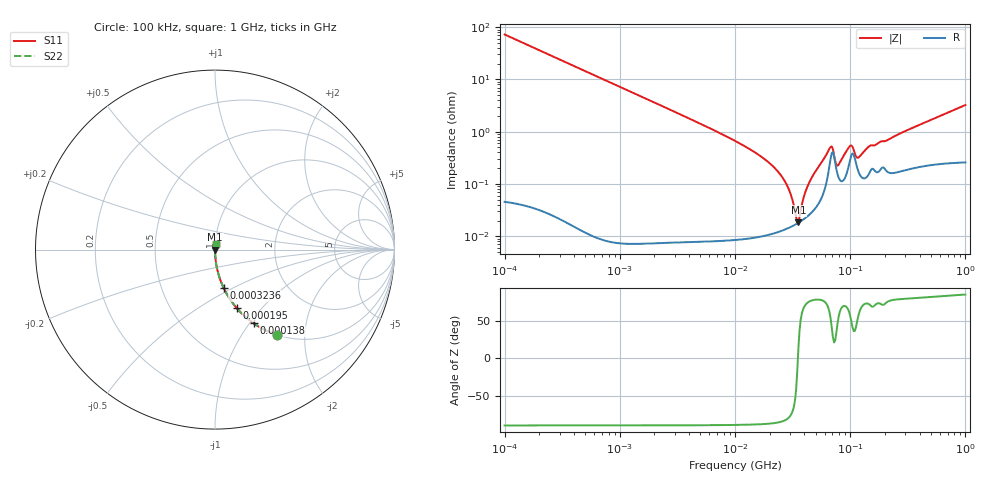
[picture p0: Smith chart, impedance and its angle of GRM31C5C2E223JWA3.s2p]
!Murata Part Number: GRM31C5C2E223JWA3
!These Parameters are Measured in Series Mode Connection
!Data Generated on Mar 30, 2021
!  o--ll--o
!Port1  Port2
!  o------o
!Operation Temp=25[degC], DC Bias Voltage=0[V]
!Freq. Start=100[kHz] Stop=1000[MHz] 401[Steps]
# Hz S RI R 50
!Freq.(Hz) S11(Real) S11(Imag) S21(Real) S21(Imag) S12(Real) S12(Imag) S22(Real) S22(Imag)
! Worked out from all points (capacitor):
!   401 points, 100 kHz to 1 GHz, reference 50 ohm
!   read as one part in series: C = 22 nF near 104.7 kHz
!   lowest |Z| = 18.5 mohm at 35.48 MHz (marker M1)
!   series resonance near 35.16 MHz, so ESL is about 930 pH
!   S11 on the Smith chart (normalised r, x): 100 kHz: 1.00, -1.45; 138 kHz: 1.00, -1.05; 195 kHz: 1.00, -0.74; 323.6 kHz: 1.00, -0.45; 1 GHz: 1.01, +0.06
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100000  0.3438 -0.4746  0.6562 0.4746  0.6562 0.4746  0.3438 -0.4746
138038  0.2158 -0.411  0.7842 0.411  0.7842 0.411  0.2158 -0.411
194984  0.1213 -0.3261  0.8787 0.3261  0.8787 0.3261  0.1213 -0.3261
323594  0.0479 -0.213  0.9521 0.213  0.9521 0.213  0.0479 -0.213
467735  0.0235 -0.1512  0.9765 0.1512  0.9765 0.1512  0.0235 -0.1512
2187762  0.00116 -0.0329  0.9988 0.0329  0.9988 0.0329  0.00116 -0.0329
1e7  0.000129 -0.00668  0.9999 0.00668  0.9999 0.00668  0.000129 -0.00668
1.698244e7  0.00011 -0.0033  0.9999 0.0033  0.9999 0.0033  0.00011 -0.0033
2.398833e7  0.000124 -0.00165  0.9999 0.00165  0.9999 0.00165  0.000124 -0.00165
2.884032e7  0.000143 -0.000848  0.9999 0.000848  0.9999 0.000848  0.000143 -0.000848
3.388442e7  0.00017 -0.000159  0.9998 0.000159  0.9998 0.000159  0.00017 -0.000159
3.548134e7  0.000181 4e-05  0.9998 -4e-05  0.9998 -4e-05  0.000181 4e-05
4.073803e7  0.000223 0.000658  0.9998 -0.000658  0.9998 -0.000658  0.000223 0.000658
4.677351e7  0.000294 0.00134  0.9997 -0.00134  0.9997 -0.00134  0.000294 0.00134
6.76083e7  0.00306 0.00409  0.9969 -0.00409  0.9969 -0.00409  0.00306 0.00409
7.585776e7  0.00191 0.00131  0.9981 -0.00131  0.9981 -0.00131  0.00191 0.00131
7.943282e7  0.00131 0.00195  0.9987 -0.00195  0.9987 -0.00195  0.00131 0.00195
1e8  0.00295 0.00448  0.9971 -0.00448  0.9971 -0.00448  0.00295 0.00448
1.174898e8  0.00176 0.00265  0.9982 -0.00265  0.9982 -0.00265  0.00176 0.00265
1.479108e8  0.0017 0.00507  0.9983 -0.00507  0.9983 -0.00507  0.0017 0.00507
2.187762e8  0.00168 0.00702  0.9983 -0.00702  0.9983 -0.00702  0.00168 0.00702
1e9  0.00361 0.0321  0.9964 -0.0321  0.9964 -0.0321  0.00361 0.0321
